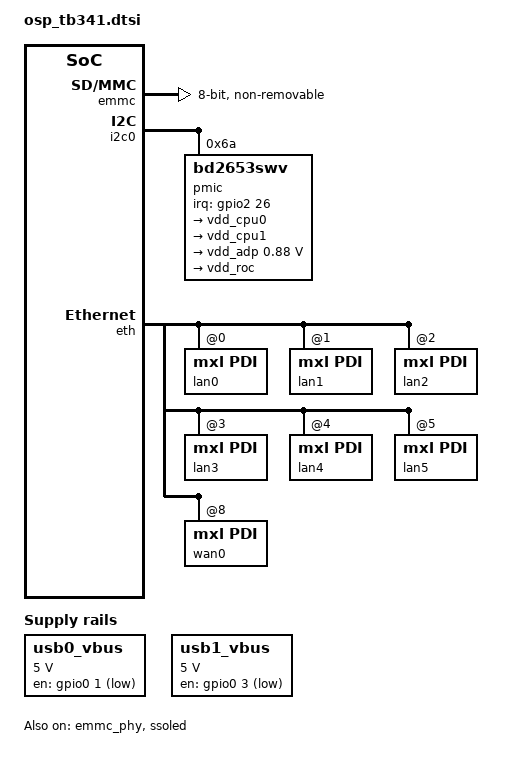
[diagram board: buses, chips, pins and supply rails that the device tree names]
// SPDX-License-Identifier: GPL-2.0
/*
 * Copyright (C) 2020-2022 MaxLinear, Inc.
 * Copyright (C) 2019-2020 Intel Corporation.
 *
 * This program is free software; you can redistribute it and/or modify it
 * under the terms of the GNU General Public License, as published by the Free
 * Software Foundation; either version 2 of the License, or (at your option)
 * any later version.
 *
 * This program is distributed in the hope that it will be useful, but WITHOUT
 * ANY WARRANTY; without even the implied warranty of MERCHANTABILITY or
 * FITNESS FOR A PARTICULAR PURPOSE.
 * See the GNU General Public License for more details.
 *
 * You should have received a copy of the GNU General Public License along
 * with this program; if not, see <http://www.gnu.org/licenses/>.
 */

#include <dt-bindings/gpio/gpio.h>
#include <dt-bindings/interrupt-controller/irq.h>

#include "lightning_mountain.dtsi"
#include "firewall_domain.dtsi"
#include "noc_firewall.dtsi"

/* EMMC setting */
&emmc {
	status = "okay";
	bus-width = <8>;
	non-removable;
};

&emmc_phy {
	status = "okay";
};

/ {
	sdxc_pwr: regulator-gpio {
		compatible = "regulator-gpio";

		regulator-min-microvolt = <1800000>;
		regulator-max-microvolt = <3300000>;
		regulator-name = "BD2204GUL";
		regulator-type = "voltage";

		/* SD_PWR_EN */
		enable-gpio = <&ssogpio 14 GPIO_ACTIVE_HIGH>;
		enable-active-high;

		/* SD_PWR_SEL */
		gpios = <&gpio2 18 GPIO_ACTIVE_HIGH>;
		states = <3300000 0x0
			  1800000 0x1>;

		status = "disabled";
	};
};

&sdxc {
	status = "disabled";
	pinctrl-names = "default";
	pinctrl-0 = <&pinctrl_sdio &pinctrl_sdio_wp_gpio>;
	cd-gpios = <&gpio2 16 GPIO_ACTIVE_LOW>;
	bus-width = <4>;
	vqmmc-supply = <&sdxc_pwr>;

	/* 208MHz requires rework of termination resistors.
	 * Since this is not yet available in default boards,
	 * we limit freq to 104MHz.
	 */
	max-frequency = <104000000>;
};

&gphy0 {
	status = "disabled";
};

&gphy1 {
	status = "disabled";
};

&gphy2 {
	status = "disabled";
};

&gphy3 {
	status = "disabled";
};

/******************************************************************************
 ** Board configuration: XPCS SERDES Parameters
 ******************************************************************************/
&wan_xpcs {
	rx_attn_lvl = <0 0 0 0 0 0 0 0>;
	rx_ctle_boost = <18 18 18 16 16 16 16 16>;
	rx_ctle_pole = <0 0 0 2 2 2 2 2>;
	rx_vga1_gain = <4 4 4 5 5 5 5 5>;
	rx_vga2_gain = <4 4 4 5 5 5 5 5>;
	rx_dfe_bypass = <1 1 1 0 0 0 0 0>;
	cont_adapt_en = <0 0 0 1 1 1 1 1>;
	rx_cali = <0 0 0 0 0 0 0 0>;
	tx_vboost_en = <1 1 1 1 1 1 1 1>;
	tx_vboost_lvl = <5 5 5 5 5 5 5 5>;
	tx_iboost_lvl = <15 15 15 15 15 15 15 15>;
	tx_eq_main = <16 16 19 28 28 28 28 28>;
	tx_eq_pre = <4 4 4 16 16 16 16 16>;
	tx_eq_post = <4 4 4 32 32 32 32 32>;
	tx_eq_ovrride = <1 1 1 1 1 1 1 1>;
};

&lan_xpcs {
	rx_attn_lvl = <0 0 0 7 7 7 7 7>;
	rx_ctle_boost = <18 18 18 0 0 0 0 0>;
	rx_ctle_pole = <0 0 0 2 2 2 2 2>;
	rx_vga1_gain = <4 4 4 5 5 5 5 5>;
	rx_vga2_gain = <4 4 4 5 5 5 5 5>;
	rx_dfe_bypass = <1 1 1 1 1 1 1 1>;
	cont_adapt_en = <0 0 0 1 1 1 1 1>;
	rx_cali = <0 0 0 0 0 0 0 0>;
	tx_vboost_en = <1 1 1 1 1 1 1 1>;
	tx_vboost_lvl = <5 5 5 5 5 5 5 5>;
	tx_iboost_lvl = <15 15 15 15 15 15 15 15>;
	tx_eq_main = <16 16 19 40 40 40 40 40>;
	tx_eq_pre = <4 4 4 0 0 0 0 0>;
	tx_eq_post = <4 4 4 0 0 0 0 0>;
	tx_eq_ovrride = <1 1 1 1 1 1 1 1>;
};

&hsiol_xpcs0 {
	rx_attn_lvl = <0 0 0 0 0 0 0 0>;
	rx_ctle_boost = <18 18 18 16 16 16 16 16>;
	rx_ctle_pole = <0 0 0 2 2 2 2 2>;
	rx_vga1_gain = <4 4 4 5 5 5 5 5>;
	rx_vga2_gain = <4 4 4 5 5 5 5 5>;
	rx_dfe_bypass = <1 1 1 0 0 0 0 0>;
	cont_adapt_en = <0 0 0 1 1 1 1 1>;
	rx_cali = <1 1 1 1 1 1 1 1>;
	tx_vboost_en = <1 1 1 1 1 1 1 1>;
	tx_vboost_lvl = <5 5 5 5 5 5 5 5>;
	tx_iboost_lvl = <15 15 15 15 15 15 15 15>;
	tx_eq_main = <16 16 19 28 28 28 28 28>;
	tx_eq_pre = <4 4 4 16 16 16 16 16>;
	tx_eq_post = <4 4 4 32 32 32 32 32>;
	tx_eq_ovrride = <1 1 1 1 1 1 1 1>;
};

&hsiol_xpcs1 {
	rx_attn_lvl = <0 0 0 0 0 0 0 0>;
	rx_ctle_boost = <18 18 18 16 16 16 16 16>;
	rx_ctle_pole = <0 0 0 2 2 2 2 2>;
	rx_vga1_gain = <4 4 4 5 5 5 5 5>;
	rx_vga2_gain = <4 4 4 5 5 5 5 5>;
	rx_dfe_bypass = <1 1 1 0 0 0 0 0>;
	cont_adapt_en = <0 0 0 1 1 1 1 1>;
	rx_cali = <1 1 1 1 1 1 1 1>;
	tx_vboost_en = <1 1 1 1 1 1 1 1>;
	tx_vboost_lvl = <5 5 5 5 5 5 5 5>;
	tx_iboost_lvl = <15 15 15 15 15 15 15 15>;
	tx_eq_main = <16 16 19 28 28 28 28 28>;
	tx_eq_pre = <4 4 4 16 16 16 16 16>;
	tx_eq_post = <4 4 4 32 32 32 32 32>;
	tx_eq_ovrride = <1 1 1 1 1 1 1 1>;
};

&hsior_xpcs0 {
	rx_attn_lvl = <0 0 0 0 0 0 0 0>;
	rx_ctle_boost = <18 18 18 16 16 16 16 16>;
	rx_ctle_pole = <0 0 0 2 2 2 2 2>;
	rx_vga1_gain = <4 4 4 5 5 5 5 5>;
	rx_vga2_gain = <4 4 4 5 5 5 5 5>;
	rx_dfe_bypass = <1 1 1 0 0 0 0 0>;
	cont_adapt_en = <0 0 0 1 1 1 1 1>;
	rx_cali = <1 1 1 1 1 1 1 1>;
	tx_vboost_en = <1 1 1 1 1 1 1 1>;
	tx_vboost_lvl = <5 5 5 5 5 5 5 5>;
	tx_iboost_lvl = <15 15 15 15 15 15 15 15>;
	tx_eq_main = <16 16 19 28 28 28 28 28>;
	tx_eq_pre = <4 4 4 16 16 16 16 16>;
	tx_eq_post = <4 4 4 32 32 32 32 32>;
	tx_eq_ovrride = <1 1 1 1 1 1 1 1>;
};

&hsior_xpcs1 {
	rx_attn_lvl = <0 0 0 0 0 0 0 0>;
	rx_ctle_boost = <18 18 18 16 16 16 16 16>;
	rx_ctle_pole = <0 0 0 2 2 2 2 2>;
	rx_vga1_gain = <4 4 4 5 5 5 5 5>;
	rx_vga2_gain = <4 4 4 5 5 5 5 5>;
	rx_dfe_bypass = <1 1 1 0 0 0 0 0>;
	cont_adapt_en = <0 0 0 1 1 1 1 1>;
	rx_cali = <1 1 1 1 1 1 1 1>;
	tx_vboost_en = <1 1 1 1 1 1 1 1>;
	tx_vboost_lvl = <5 5 5 5 5 5 5 5>;
	tx_iboost_lvl = <15 15 15 15 15 15 15 15>;
	tx_eq_main = <16 16 19 28 28 28 28 28>;
	tx_eq_pre = <4 4 4 16 16 16 16 16>;
	tx_eq_post = <4 4 4 32 32 32 32 32>;
	tx_eq_ovrride = <1 1 1 1 1 1 1 1>;
};

/* PCIe */
&pcie21 { /* M2_KeyB */
	status = "disabled";
	mxl,has_cellular_module;
	power_on-gpios = <&ssogpio 14 GPIO_ACTIVE_HIGH>;
	module_reset-gpios = <&ssogpio 12 GPIO_ACTIVE_HIGH>;
	reset-assert-ms = <200>;
	reset-gpios = <&ssogpio 13 GPIO_ACTIVE_LOW>;
	num-lanes = <1>;
};

&pcie30 { /* WIFI-615 */
	status = "disabled";
	reset-assert-ms = <200>;
	reset-gpios = <&ssogpio 10 GPIO_ACTIVE_LOW>;
	num-lanes = <1>;
};

&pcie31 { /* WIFI-665-6G */ 
	status = "disabled";
	reset-assert-ms = <200>;
	reset-gpios = <&ssogpio 11 GPIO_ACTIVE_LOW>;
	num-lanes = <1>;
};

&pcie40 { /* DSL - VRX619 */ 
	status = "disabled";
	reset-assert-ms = <200>;
	reset-gpios = <&ssogpio 15 GPIO_ACTIVE_HIGH>;
	num-lanes = <1>;
};

&pcie41 { /* WiFi-665-5G */
	status = "disabled";
	reset-assert-ms = <200>;
	reset-gpios = <&ssogpio 9 GPIO_ACTIVE_LOW>;
	num-lanes = <1>;
};

&lpid_config {
	mxl,port-mode = <LPID_PORT_MODE0>;
};

/ {
	aliases {
		eth0_1 = &lan0;
		eth0_2 = &lan2;
		eth0_3 = &lan3;
		eth0_4 = &lan4;
		eth0_5 = &lan5;
	};
	usb0_vbus:regulator-vbus@0 {
		compatible = "regulator-fixed";
		regulator-name = "usb0_vbus";
		regulator-min-microvolt = <5000000>;
		regulator-max-microvolt = <5000000>;
		gpio = <&gpio0 1 1>;
		enable-active-low;
	};

	usb1_vbus:regulator-vbus@1 {
		compatible = "regulator-fixed";
		regulator-name = "usb1_vbus";
		regulator-min-microvolt = <5000000>;
		regulator-max-microvolt = <5000000>;
		gpio = <&gpio0 3 1>;
		enable-active-low;
	};
};

&i2c0 {
	pmic: pmic@6a {
		compatible = "bd2653swv";
		pinctrl-names = "default";
		pinctrl-0 = <&pinctrl_pmic_function>;
		reg = <0x6a>;
		interrupt-parent = <&gpio2>;
		interrupts = <26 IRQ_TYPE_LEVEL_HIGH>;

		vdd_cpu0: BUCK0 {
			regulator-compatible = "buck0";
			regulator-name = "cpu0";
		};

		vdd_cpu1: BUCK1 {
			regulator-compatible = "buck1";
			regulator-name = "cpu1";
		};

		vdd_adp: BUCK2 {
			regulator-compatible = "buck2";
			regulator-name = "adp";
			regulator-min-microvolt = <0>;
			regulator-max-microvolt = <880000>;
		};

		vdd_roc: BUCK3 {
			regulator-compatible = "buck3";
			regulator-name = "roc";
		};
	};
};

&epu {
	vdd-cpu0-supply = <&vdd_cpu0>;
	vdd-cpu1-supply = <&vdd_cpu1>;
	vdd-adp-supply = <&vdd_adp>;
};

/******************************************************************************
 ** Board configuration: Configure LAN/WAN interfaces
 ******************************************************************************/
&eth {
	status = "okay";

    lan0: interface@0 {
		#address-cells = <1>;
		#size-cells = <0>;
		compatible = "mxl,pdi";
		reg = <0>;
		mxl,dp-dev-port = <3>;
		mxl,dp-port-id = <3>;
		mxl,dp-port-10g;
		mxl,xgmac-id = <3>;
		mac = <&gsw_mac1>;
		phy-mode = "10gbase-kr";
		fixed-link {
		    speed = <10000>;
		    full-duplex;
		    pause;
		    asym-pause;
		};
	};

	lan1: interface@1 {
		#address-cells = <1>;
		#size-cells = <0>;
		compatible = "mxl,pdi";
		reg = <1>;
		mxl,dp-dev-port = <4>;
		mxl,dp-port-id = <4>;
		mxl,dp-port-10g;
		mxl,xgmac-id = <4>;
		mac = <&gsw_mac2>;
		phy-mode = "10gbase-kr";
		fixed-link {
			speed = <10000>;
			full-duplex;
			pause;
			asym-pause;
		};
	};

	lan2: interface@2 {
		#address-cells = <1>;
		#size-cells = <0>;
		compatible = "mxl,pdi";
		mxl,dp-dev-port = <5>;
		mxl,dp-port-id = <5>;
		mxl,xgmac-id = <5>;
		mac = <&gsw_mac3>;
		managed = "in-band-status";
		phy = <&gphy0>;
		phy-mode = "sgmii";
		lan2_eth: ethernet@2 {
			compatible = "mxl,pdi-port";
			reg = <2>;
			phy-mode = "rgmii";
			phy-handle = <&gphy0>;
		};
	};

	lan3: interface@3 {
		#address-cells = <1>;
		#size-cells = <0>;
		compatible = "mxl,pdi";
		mxl,dp-dev-port = <6>;
		mxl,dp-port-id = <6>;
		mxl,xgmac-id = <6>;
		mac = <&gsw_mac4>;
		managed = "in-band-status";
		phy = <&gphy1>;
		phy-mode = "sgmii";
		lan3_eth: ethernet@3 {
			compatible = "mxl,pdi-port";
			reg = <3>;
			phy-mode = "rgmii";
			phy-handle = <&gphy1>;
		};
	};

	lan4: interface@4 {
		#address-cells = <1>;
		#size-cells = <0>;
		compatible = "mxl,pdi";
		mxl,dp-dev-port = <7>;
		mxl,dp-port-id = <7>;
		mxl,xgmac-id = <7>;
		mac = <&gsw_mac5>;
		managed = "in-band-status";
		phy = <&gphy2>;
		phy-mode = "sgmii";
		lan4_eth: ethernet@4 {
			compatible = "mxl,pdi-port";
			reg = <4>;
			phy-mode = "rgmii";
			phy-handle = <&gphy2>;
		};
	};

	lan5: interface@5 {
		#address-cells = <1>;
		#size-cells = <0>;
		compatible = "mxl,pdi";
		mxl,dp-dev-port = <8>;
		mxl,dp-port-id = <8>;
		mxl,xgmac-id = <8>;
		mac = <&gsw_mac6>;
		managed = "in-band-status";
		phy = <&gphy3>;
		phy-mode = "sgmii";
		lan5_eth: ethernet@5 {
			compatible = "mxl,pdi-port";
			reg = <5>;
			phy-mode = "rgmii";
			phy-handle = <&gphy3>;
		};
	};

	wan0: interface@8 {
		#address-cells = <1>;
		#size-cells = <0>;
		compatible = "mxl,pdi";
		mxl,wan = <1>;
		mxl,dp-dev-port = <9>;
		mxl,dp-port-id = <9>;
		mxl,xgmac-id = <9>;
		mxl,dp-port-10g;
		mxl,pon_hgu_sim = <0>;
		mac = <&gsw_mac0>;
		phy-mode = "10gbase-kr";
		fixed-link {
		    speed = <10000>;
		    full-duplex;
		    pause;
		    asym-pause;
		};
	};
};

/******************************************************************************
 ** Board configuration: Configure DECT interfaces
 ******************************************************************************/
&ssc1 {
	status = "disabled";
	pinctrl-names = "default";
	pinctrl-0 = <&pinctrl_spi1>;
	dect@0 {
		compatible = "intel,dect_spi";
		spi-max-frequency = <4000000>;
		reg = <0>;
		interrupts = <25 IRQ_TYPE_EDGE_FALLING>;
		interrupt-parent = <&gpio2>;
		reset-gpios = <&ssogpio 13 GPIO_ACTIVE_HIGH>;
		intel,dect-cs = <&gpio0 14 GPIO_ACTIVE_LOW >;
		spi-cpol;
		spi-cpha;
	};
};

&cgu0 {
	cgussc {
		#address-cells = <1>;
		#size-cells = <0>;

		/* SSC in LJPLL4 for PCIe */
		cgussc1: cgussc@110 {
			reg = <0x110>;
			intel,ssc-enable = <1>;
			intel,ssc-spread = <5>;
			intel,ssc-dir = <1>; /* 0: center, 1: down */
			intel,ssc-divval = <10>;
		};
	};
};

&pinctrl {
	pinctrl_ledc0_rst: ledc0_rst {
		intel,pins = <9>;
		function = "ssoled0_rst";
		pinmux = <0>;
		groups = "ledc0_rst";
	};
};

&ssogpio {
	status = "okay";
	ngpios = <16>;
	reset-gpios = <&gpio0 9 GPIO_ACTIVE_HIGH>;
	mxl,sso-pin-avail = <0xFFFFFF>;
};

&ssoled {
	status = "okay";
	mxl,sso-def-brightness = <0>;
	mxl,sso-def-updatesrc = <1>; /* 0 - manual, 1 - gptc 2 - fpid */
	mxl,sso-def-blinkrate = <2>;

	led16: led16 { /* LAN_LED_B */
		label = "led16:blue:LAN";
		led-gpios = <&ssogpio 7 0>;
		mxl,led-pin = <7>;
	};

	led17: led17 { /* LAN_LED_R */
		label = "led17:red:lan";
		led-gpios = <&ssogpio 6 0>;
		mxl,led-pin = <6>;
	};

	led18: led18 { /* LAN_LED_G */
		label = "led18:green:lan";
		led-gpios = <&ssogpio 5 0>;
		mxl,led-pin = <5>;
	};

	led19: led19 { /* LAN_LED_W */
		label = "led19:white:lan";
		led-gpios = <&ssogpio 4 0>;
		mxl,led-pin = <4>;
	};

	led20: led20 { /* PWR_G */
		label = "led20:green:power";
		led-gpios = <&ssogpio 2 0>;
		mxl,led-pin = <2>;
	};

	led21: led21 { /* PWR_R */
		label = "led21:red:power";
		led-gpios = <&ssogpio 3 0>;
		mxl,led-pin = <3>;
	};

	led22: led22 { /* WIFI_G */
		label = "led22";
		led-gpios = <&ssogpio 1 0>;
		mxl,led-pin = <1>;
	};

	led23: led23 { /* VOIP1_G */
		label = "led23";
		led-gpios = <&ssogpio 0 0>;
		mxl,led-pin = <0>;
	};

	led24: led24 { /* VOIP2_G */
		label = "led24";
		led-gpios = <&ssogpio 8 0>;
		mxl,led-pin = <8>;
	};
};

&ebu_nand {
	status = "disabled";
	nand,cs = <1>;
	nand-ecc-mode = "hw";
	nand-ecc-algo = "bch";
	nand-ecc-strength = <8>;
	pinctrl-names = "default";
	pinctrl-0 = <&pinctrl_ebu_nand_base &pinctrl_ebu_nand_cs1>;
};

&pinctrl_qspi {
		intel,slew-rate = <1>;
		intel,drive-current = <3>;
};

&qspi0 {
	status = "disabled";
	mxl-spinand@1 {
		#address-cells = <1>;
		#size-cells = <1>;
		compatible = "mxl,spinand";
		reg = <1 1>;
		linux,mtd-name = "nand.0";
		spi-max-frequency = <50000000>;
		page-size = <2048>;
		block-size = <17>; // 2^17, 128KB
		spi-tx-bus-width = <1>;
		spi-rx-bus-width = <1>;
		pinctrl-names = "default";
		pinctrl-0 = <&pinctrl_qspi &pinctrl_qspi_cs1 &pinctrl_qspi_rst1>;

		read-delay = <3>;
		tshsl-ns = <200>;
		tsd2d-ns = <255>;
		tchsh-ns = <20>;
		tslch-ns = <20>;

        partition@0 {
            reg = <0x0 0x80000>;
            label = "uboot";
            read-only;
        };

        partition@c0000 {
            reg = <0xc0000 0x500000>;
            label = "uboot_env";
        };

        partition@800000 {
            reg = <0x800000 0x800000>;
            label = "image0";
        };

        partition@1000000 {
            reg = <0x1000000 0x20000>;
            label = "image1";
        };
	};
};

/******************************************************************************
**  PCIE devices temperature sensor node definition
*******************************************************************************/
/ {
	wave_6_0: iwlwave@0 {
		compatible = "mxl,wave";
		wave-band = <2>;  /* 6GHz */
		/* type - 0/1,	param - param required for Cooling type
		 * type 0 for Duty Cycle, 1 for Antenna count
		 */
		max-cooling-state = <3>;
		cooling-states = <
			/* type param */
			1  3
			1  2
			1  1
		>;

		#thermal-sensor-cells = <0>;
		#cooling-cells = <2>;
	};

	wave_5_0: iwlwave@1 {
		compatible = "mxl,wave";
		wave-band = <0>;  /* 5GHz */
		/* type - 0/1,	param - param required for Cooling type
		 * type 0 for Duty Cycle, 1 for Antenna count
		 */
		max-cooling-state = <3>;
		cooling-states = <
			/* type param */
			1  3
			1  2
			1  1
		>;

		#thermal-sensor-cells = <0>;
		#cooling-cells = <2>;
	};

	wave_2_4: iwlwave@2 {
		compatible = "mxl,wave";
		wave-band = <1>;  /* 2.4GHz */
		/* type - 0/1,	param - param required for Cooling type
		 * type 0 for Duty Cycle, 1 for Antenna count
		 */
		max-cooling-state = <3>;
		cooling-states = <
			/* type param */
			1  3
			1  2
			1  1
		>;

		#thermal-sensor-cells = <0>;
		#cooling-cells = <2>;
	};
};


#include "lgm_pinctrl.dtsi"
